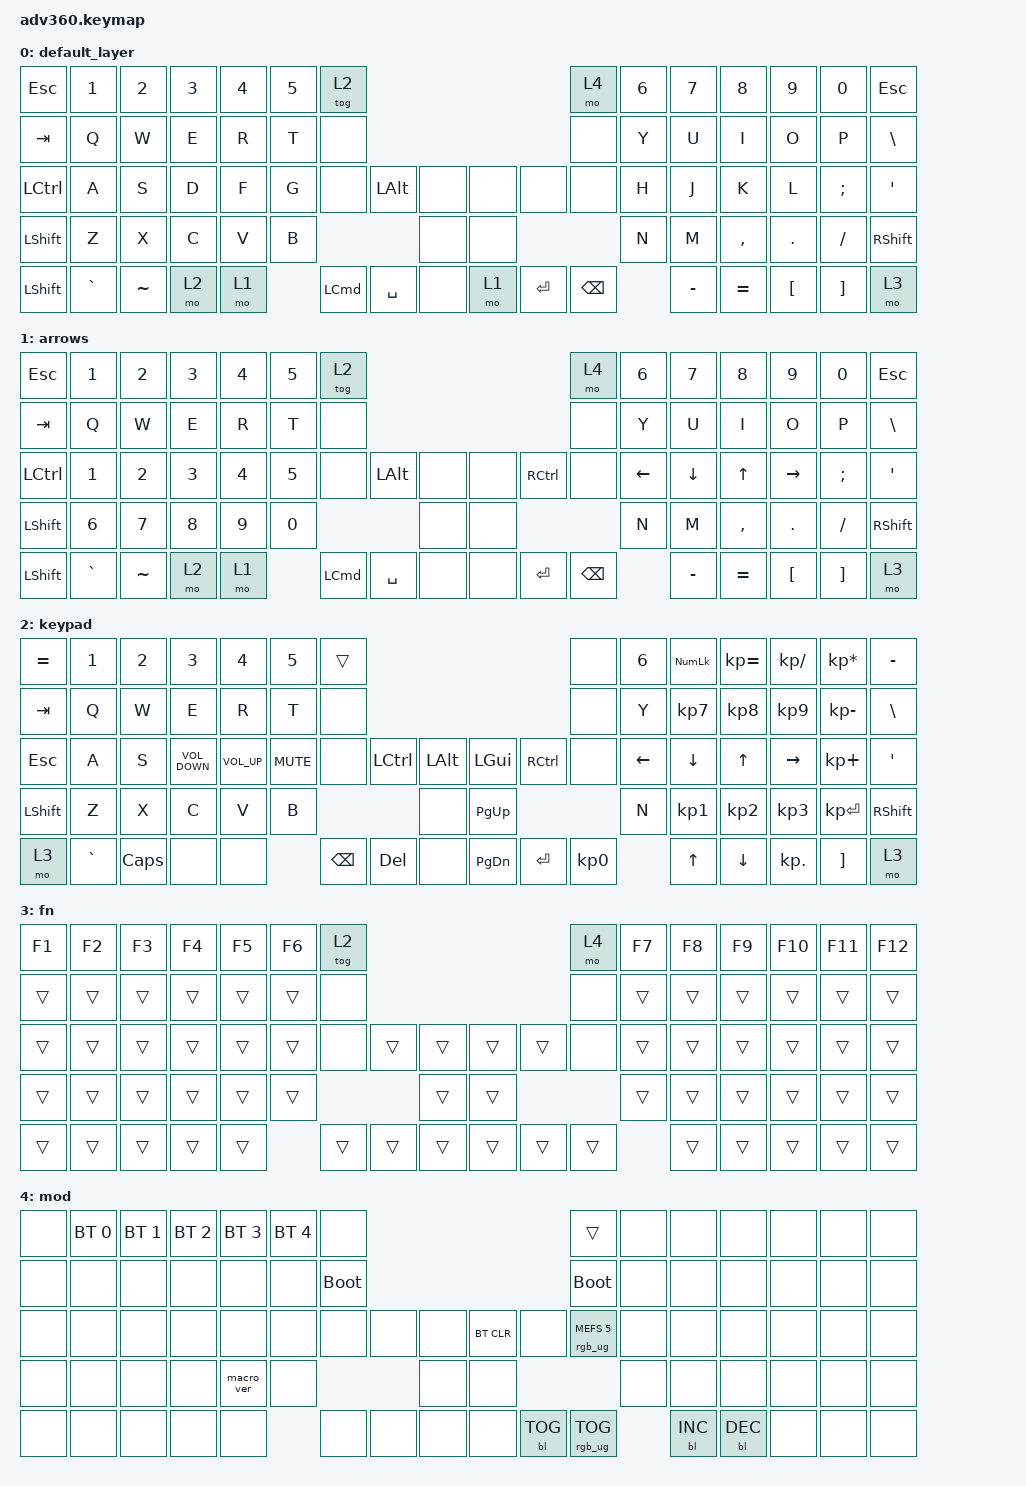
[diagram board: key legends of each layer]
#include <behaviors.dtsi>
#include <dt-bindings/zmk/backlight.h>
#include <dt-bindings/zmk/bt.h>
#include <dt-bindings/zmk/keys.h>
#include <dt-bindings/zmk/rgb.h>

/ {
    behaviors {
        #include "macros.dtsi"
      #include "version.dtsi"
      #ifndef VERSION_MACRO

        macro_ver: macro_ver {
            compatible = "zmk,behavior-macro";
            label = "macro_version";
            #binding-cells = <0>;
            bindings = <&kp RET>;
        };

        #endif

        hm: homerow_mods {
            compatible = "zmk,behavior-hold-tap";
            label = "HOMEROW_MODS";
            #binding-cells = <2>;
            tapping-term-ms = <200>;
            quick_tap_ms = <175>;
            flavor = "tap-preferred";
            bindings = <&kp>, <&kp>;
        };
    };

    macros {
    };

    keymap {
        compatible = "zmk,keymap";

        default_layer {
            bindings = <
&kp ESCAPE        &kp N1     &kp N2     &kp N3  &kp N4  &kp N5  &tog 2                                                       &mo 4          &kp N6  &kp N7     &kp N8     &kp N9    &kp N0    &kp ESCAPE
&kp TAB           &kp Q      &kp W      &kp E   &kp R   &kp T   &none                                                        &none          &kp Y   &kp U      &kp I      &kp O     &kp P     &kp BSLH
&kp LEFT_CONTROL  &kp A      &kp S      &kp D   &kp F   &kp G   &none             &kp LEFT_ALT  &none      &none  &none      &none          &kp H   &kp J      &kp K      &kp L     &kp SEMI  &kp SQT
&kp LSHFT         &kp Z      &kp X      &kp C   &kp V   &kp B                                   &none      &none                            &kp N   &kp M      &kp COMMA  &kp DOT   &kp FSLH  &kp RSHFT
&kp LSHFT         &kp GRAVE  &kp TILDE  &mo 2   &mo 1           &kp LEFT_COMMAND  &kp SPACE     &none      &mo 1  &kp ENTER  &kp BACKSPACE          &kp MINUS  &kp EQUAL  &kp LBKT  &kp RBKT  &mo 3
            >;
        };

        arrows {
            bindings = <
&kp ESCAPE        &kp N1        &kp N2        &kp N3        &kp N4        &kp N5  &tog 2                                                       &mo 4          &kp N6          &kp N7          &kp N8        &kp N9     &kp N0    &kp ESCAPE
&kp TAB           &kp Q         &kp W         &kp E         &kp R         &kp T   &none                                                        &none          &kp Y           &kp U           &kp I         &kp O      &kp P     &kp BSLH
&kp LEFT_CONTROL  &kp NUMBER_1  &kp NUMBER_2  &kp NUMBER_3  &kp NUMBER_4  &kp N5  &none             &kp LEFT_ALT  &none      &none  &kp RCTRL  &none          &kp LEFT_ARROW  &kp DOWN_ARROW  &kp UP_ARROW  &kp RIGHT  &kp SEMI  &kp SQT
&kp LSHFT         &kp NUMBER_6  &kp N7        &kp N8        &kp N9        &kp N0                                  &none      &none                            &kp N           &kp M           &kp COMMA     &kp DOT    &kp FSLH  &kp RSHFT
&kp LSHFT         &kp GRAVE     &kp TILDE     &mo 2         &mo 1                 &kp LEFT_COMMAND  &kp SPACE     &none      &none  &kp ENTER  &kp BACKSPACE                  &kp MINUS       &kp EQUAL     &kp LBKT   &kp RBKT  &mo 3
            >;
        };

        keypad {
            bindings = <
&kp EQUAL  &kp N1     &kp N2    &kp N3             &kp N4           &kp N5      &trans                                                   &none      &kp N6          &kp KP_NUM      &kp KP_EQUAL  &kp KP_DIVIDE    &kp KP_MULTIPLY  &kp MINUS
&kp TAB    &kp Q      &kp W     &kp E              &kp R            &kp T       &none                                                    &none      &kp Y           &kp KP_N7       &kp KP_N8     &kp KP_N9        &kp KP_MINUS     &kp BSLH
&kp ESC    &kp A      &kp S     &kp C_VOLUME_DOWN  &kp C_VOLUME_UP  &kp K_MUTE  &none     &kp LCTRL  &kp LALT      &kp LGUI   &kp RCTRL  &none      &kp LEFT_ARROW  &kp DOWN_ARROW  &kp UP_ARROW  &kp RIGHT_ARROW  &kp KP_PLUS      &kp SQT
&kp LSHFT  &kp Z      &kp X     &kp C              &kp V            &kp B                            &none         &kp PG_UP                        &kp N           &kp KP_N1       &kp KP_N2     &kp KP_N3        &kp KP_ENTER     &kp RSHFT
&mo 3      &kp GRAVE  &kp CAPS  &none              &none                        &kp BSPC  &kp DEL    &none         &kp PG_DN  &kp ENTER  &kp KP_N0                  &kp UP          &kp DOWN      &kp KP_DOT       &kp RBKT         &mo 3
            >;
        };

        fn {
            bindings = <
&kp F1  &kp F2  &kp F3  &kp F4  &kp F5  &kp F6  &tog 2                                      &mo 4   &kp F7  &kp F8  &kp F9  &kp F10  &kp F11  &kp F12
&trans  &trans  &trans  &trans  &trans  &trans  &none                                       &none   &trans  &trans  &trans  &trans   &trans   &trans
&trans  &trans  &trans  &trans  &trans  &trans  &none   &trans  &trans      &trans  &trans  &none   &trans  &trans  &trans  &trans   &trans   &trans
&trans  &trans  &trans  &trans  &trans  &trans                  &trans      &trans                  &trans  &trans  &trans  &trans   &trans   &trans
&trans  &trans  &trans  &trans  &trans          &trans  &trans  &trans      &trans  &trans  &trans          &trans  &trans  &trans   &trans   &trans
            >;
        };

        mod {
            bindings = <
&none  &bt BT_SEL 0  &bt BT_SEL 1  &bt BT_SEL 2  &bt BT_SEL 3  &bt BT_SEL 4  &none                                                  &trans                  &none  &none       &none       &none  &none  &none
&none  &none         &none         &none         &none         &none         &bootloader                                            &bootloader             &none  &none       &none       &none  &none  &none
&none  &none         &none         &none         &none         &none         &none        &none  &none      &bt BT_CLR  &none       &rgb_ug RGB_MEFS_CMD 5  &none  &none       &none       &none  &none  &none
&none  &none         &none         &none         &macro_ver    &none                             &none      &none                                           &none  &none       &none       &none  &none  &none
&none  &none         &none         &none         &none                       &none        &none  &none      &none       &bl BL_TOG  &rgb_ug RGB_TOG                &bl BL_INC  &bl BL_DEC  &none  &none  &none
            >;
        };
    };
};
